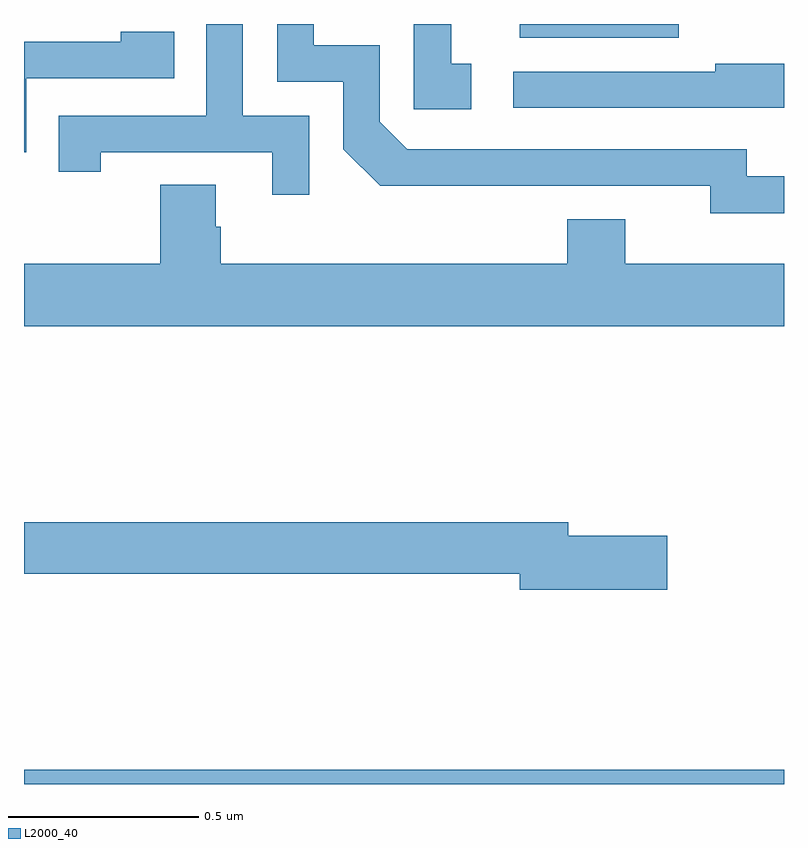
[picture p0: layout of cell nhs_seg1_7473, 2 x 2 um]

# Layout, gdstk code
import gdstk
lib = gdstk.Library(unit=1e-6, precision=1e-09)
def R(c, l, rs):  # rectangles x0, y0, x1, y1
    for r in rs: c.add(gdstk.rectangle(r[:2], r[2:], *l))
def P(c, l, *ps):  # polygons
    for p in ps: c.add(gdstk.Polygon(p, *l))
L2000_40 = (2000, 40)

nhs_seg1_7473 = lib.new_cell('nhs_seg1_7473')
R(nhs_seg1_7473, L2000_40, [(204,545.199,206,545.236), (205.304,547.163,205.723,547.199)])
P(nhs_seg1_7473, L2000_40, [(204.75,546.957),(204.576,546.957),(204.576,547.199),(204.48,547.199),(204.48,546.957),(204.091,546.957),(204.091,546.81),(204.202,546.81),(204.202,546.861),(204.653,546.861),(204.653,546.75),(204.75,546.75)],
  [(206,546.798),(205.902,546.798),(205.902,546.87),(205.008,546.87),(204.936,546.942),(204.936,547.143),(204.763,547.143),(204.763,547.199),(204.666,547.199),(204.666,547.047),(204.84,547.047),(204.84,546.87),(204.938,546.773),(205.346,546.773),(205.346,546.774),(205.806,546.774),(205.806,546.701),(206,546.701)],
  [(205.177,547.095),(205.124,547.095),(205.124,547.199),(205.026,547.199),(205.026,546.975),(205.177,546.975)],
  [(204.006,547.056),(204.395,547.056),(204.395,547.179),(204.255,547.179),(204.255,547.152),(204,547.152),(204,546.861),(204.006,546.861)],
  [(206,547.094),(205.819,547.094),(205.819,547.074),(205.287,547.074),(205.287,546.978),(206,546.978)],
  [(206,546.568),(205.582,546.568),(205.582,546.685),(205.43,546.685),(205.43,546.568),(204.518,546.568),(204.518,546.666),(204.505,546.666),(204.505,546.776),(204.358,546.776),(204.358,546.568),(204,546.568),(204,546.404),(206,546.404)],
  [(205.693,545.852),(205.432,545.852),(205.432,545.888),(204,545.888),(204,545.752),(205.304,545.752),(205.304,545.71),(205.693,545.71)])

lib.write_gds('nhs_seg1_7473.gds')
